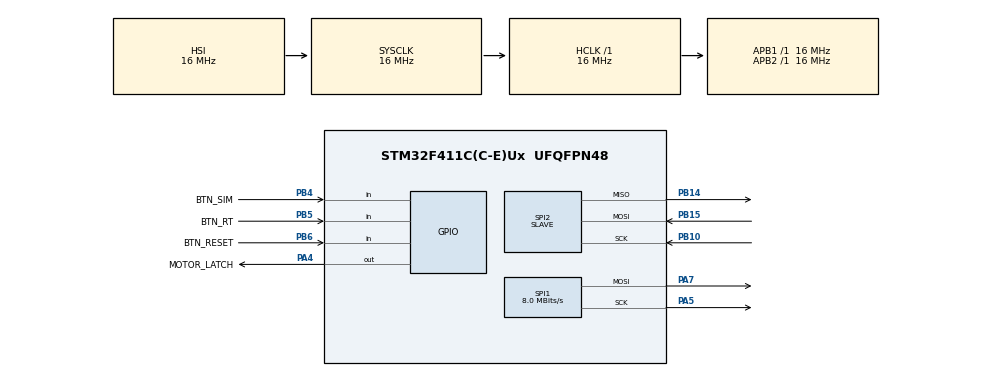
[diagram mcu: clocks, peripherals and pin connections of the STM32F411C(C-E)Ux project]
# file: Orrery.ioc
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FREERTOS.Tasks01=defaultTask,24,128,StartDefaultTask,Default,NULL,Dynamic,NULL,NULL;MotionTask,32,512,MotionTaskStart,Default,NULL,Dynamic,NULL,NULL;CommTask,24,512,CommTaskStart,Default,NULL,Dynamic,NULL,NULL
Mcu.Family=STM32F4
Mcu.Name=STM32F411C(C-E)Ux
Mcu.Package=UFQFPN48
NVIC.PriorityGroup=NVIC_PRIORITYGROUP_4
NVIC.TIM1_TRG_COM_TIM11_IRQn=true\:15\:0\:false\:false\:true\:false\:false\:true\:true
NVIC.TimeBase=TIM1_TRG_COM_TIM11_IRQn
NVIC.TimeBaseIP=TIM11
PA4.GPIO_Label=MOTOR_LATCH
PA4.Signal=GPIO_Output
PA5.Mode=TX_Only_Simplex_Unidirect_Master
PA5.Signal=SPI1_SCK
PA7.Mode=TX_Only_Simplex_Unidirect_Master
PA7.Signal=SPI1_MOSI
PB10.Mode=Full_Duplex_Slave
PB10.Signal=SPI2_SCK
PB14.Mode=Full_Duplex_Slave
PB14.Signal=SPI2_MISO
PB15.Mode=Full_Duplex_Slave
PB15.Signal=SPI2_MOSI
PB4.GPIO_Label=BTN_SIM
PB4.Signal=GPIO_Input
PB5.GPIO_Label=BTN_RT
PB5.Signal=GPIO_Input
PB6.GPIO_Label=BTN_RESET
PB6.Signal=GPIO_Input
ProjectManager.HeapSize=0x200
ProjectManager.StackSize=0x400
ProjectManager.TargetToolchain=STM32CubeIDE
RCC.AHBFreq_Value=16000000
RCC.APB1Freq_Value=16000000
RCC.APB2Freq_Value=16000000
RCC.CortexFreq_Value=16000000
RCC.HSE_VALUE=25000000
RCC.HSI_VALUE=16000000
RCC.LSE_VALUE=32768
RCC.SYSCLKFreq_VALUE=16000000
RCC.VCOOutputFreq_Value=192000000
SPI1.CalculateBaudRate=8.0 MBits/s
SPI1.Direction=SPI_DIRECTION_2LINES
SPI1.Mode=SPI_MODE_MASTER
SPI1.VirtualType=VM_MASTER
SPI2.Direction=SPI_DIRECTION_2LINES
SPI2.Mode=SPI_MODE_SLAVE
SPI2.VirtualType=VM_SLAVE
VP_FREERTOS_VS_CMSIS_V2.Mode=CMSIS_V2
VP_SYS_VS_tim11.Mode=TIM11
board=custom

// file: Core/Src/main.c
/* USER CODE BEGIN Header */
/**
  ******************************************************************************
  * @file           : main.c
  * @brief          : Main program body
  ******************************************************************************
  * @attention
  *
  * Copyright (c) 2026 STMicroelectronics.
  * All rights reserved.
  *
  * This software is licensed under terms that can be found in the LICENSE file
  * in the root directory of this software component.
  * If no LICENSE file comes with this software, it is provided AS-IS.
  *
  ******************************************************************************
  */
/* USER CODE END Header */
#include "main.h"
#include "cmsis_os.h"

/* USER CODE BEGIN Includes */
#include "stepper.h"
/* USER CODE END Includes */

SPI_HandleTypeDef hspi1;
SPI_HandleTypeDef hspi2;

/* Definitions for defaultTask */
osThreadId_t defaultTaskHandle;
const osThreadAttr_t defaultTask_attributes = {
  .name = "defaultTask",
  .stack_size = 128 * 4,
  .priority = (osPriority_t) osPriorityNormal,
};
/* Definitions for MotionTask */
osThreadId_t MotionTaskHandle;
const osThreadAttr_t MotionTask_attributes = {
  .name = "MotionTask",
  .stack_size = 512 * 4,
  .priority = (osPriority_t) osPriorityAboveNormal,
};
/* Definitions for CommTask */
osThreadId_t CommTaskHandle;
const osThreadAttr_t CommTask_attributes = {
  .name = "CommTask",
  .stack_size = 512 * 4,
  .priority = (osPriority_t) osPriorityNormal,
};
/* USER CODE BEGIN PV */
IWDG_HandleTypeDef hiwdg;
/* USER CODE END PV */

void SystemClock_Config(void);
static void MX_GPIO_Init(void);
static void MX_SPI1_Init(void);
static void MX_SPI2_Init(void);
void StartDefaultTask(void *argument);
void MotionTaskStart(void *argument);
void CommTaskStart(void *argument);

int main(void)
{

  /* MCU Configuration--------------------------------------------------------*/

  /* Reset of all peripherals, Initializes the Flash interface and the Systick. */
  HAL_Init();

  /* Configure the system clock */
  SystemClock_Config();

  /* Initialize all configured peripherals */
  MX_GPIO_Init();
  MX_SPI1_Init();
  MX_SPI2_Init();
  /* USER CODE BEGIN 2 */
  {
    /* CubeMX generated these as NOPULL; force pull-up so each button just
       needs to short its pin to GND when pressed, no external resistor. */
    GPIO_InitTypeDef btnInit = {0};
    btnInit.Mode  = GPIO_MODE_INPUT;
    btnInit.Pull  = GPIO_PULLUP;
    btnInit.Speed = GPIO_SPEED_FREQ_LOW;

    btnInit.Pin = BTN_SIM_Pin;
    HAL_GPIO_Init(BTN_SIM_GPIO_Port, &btnInit);

    btnInit.Pin = BTN_RT_Pin;
    HAL_GPIO_Init(BTN_RT_GPIO_Port, &btnInit);

    btnInit.Pin = BTN_RESET_Pin;
    HAL_GPIO_Init(BTN_RESET_GPIO_Port, &btnInit);
  }

  /* Independent watchdog: if the motion loop ever stops refreshing this
     (frozen task, whatever the cause), the chip resets itself and resumes
     on its own instead of needing a manual power cycle. LSI ~32kHz /
     prescaler 64 = 500Hz tick; reload 2000 -> ~4 second timeout, long
     enough that a normal 1ms poll loop never comes close. */
  hiwdg.Instance = IWDG;
  hiwdg.Init.Prescaler = IWDG_PRESCALER_64;
  hiwdg.Init.Reload    = 2000;
  if (HAL_IWDG_Init(&hiwdg) != HAL_OK) {
    Error_Handler();
  }
  /* USER CODE END 2 */

  /* Init scheduler */
  osKernelInitialize();

  /* Create the thread(s) */
  /* creation of defaultTask */
  defaultTaskHandle = osThreadNew(StartDefaultTask, NULL, &defaultTask_attributes);

  /* creation of MotionTask */
  MotionTaskHandle = osThreadNew(MotionTaskStart, NULL, &MotionTask_attributes);

  /* creation of CommTask */
  CommTaskHandle = osThreadNew(CommTaskStart, NULL, &CommTask_attributes);

  /* Start scheduler */
  osKernelStart();

  /* We should never get here as control is now taken by the scheduler */

  /* Infinite loop */
  while (1)
  {

  }
}

void SystemClock_Config(void)
{
  RCC_OscInitTypeDef RCC_OscInitStruct = {0};
  RCC_ClkInitTypeDef RCC_ClkInitStruct = {0};

  /** Configure the main internal regulator output voltage
  */
  __HAL_RCC_PWR_CLK_ENABLE();
  __HAL_PWR_VOLTAGESCALING_CONFIG(PWR_REGULATOR_VOLTAGE_SCALE1);

  /** Initializes the RCC Oscillators according to the specified parameters
  * in the RCC_OscInitTypeDef structure.
  */
  RCC_OscInitStruct.OscillatorType = RCC_OSCILLATORTYPE_HSI;
  RCC_OscInitStruct.HSIState = RCC_HSI_ON;
  RCC_OscInitStruct.HSICalibrationValue = RCC_HSICALIBRATION_DEFAULT;
  RCC_OscInitStruct.PLL.PLLState = RCC_PLL_NONE;
  if (HAL_RCC_OscConfig(&RCC_OscInitStruct) != HAL_OK)
  {
    Error_Handler();
  }

  /** Initializes the CPU, AHB and APB buses clocks
  */
  RCC_ClkInitStruct.ClockType = RCC_CLOCKTYPE_HCLK|RCC_CLOCKTYPE_SYSCLK
                              |RCC_CLOCKTYPE_PCLK1|RCC_CLOCKTYPE_PCLK2;
  RCC_ClkInitStruct.SYSCLKSource = RCC_SYSCLKSOURCE_HSI;
  RCC_ClkInitStruct.AHBCLKDivider = RCC_SYSCLK_DIV1;
  RCC_ClkInitStruct.APB1CLKDivider = RCC_HCLK_DIV1;
  RCC_ClkInitStruct.APB2CLKDivider = RCC_HCLK_DIV1;

  if (HAL_RCC_ClockConfig(&RCC_ClkInitStruct, FLASH_LATENCY_0) != HAL_OK)
  {
    Error_Handler();
  }
}

static void MX_SPI1_Init(void)
{

  /* SPI1 parameter configuration*/
  hspi1.Instance = SPI1;
  hspi1.Init.Mode = SPI_MODE_MASTER;
  hspi1.Init.Direction = SPI_DIRECTION_2LINES;
  hspi1.Init.DataSize = SPI_DATASIZE_8BIT;
  hspi1.Init.CLKPolarity = SPI_POLARITY_LOW;
  hspi1.Init.CLKPhase = SPI_PHASE_1EDGE;
  hspi1.Init.NSS = SPI_NSS_SOFT;
  hspi1.Init.BaudRatePrescaler = SPI_BAUDRATEPRESCALER_2;
  hspi1.Init.FirstBit = SPI_FIRSTBIT_MSB;
  hspi1.Init.TIMode = SPI_TIMODE_DISABLE;
  hspi1.Init.CRCCalculation = SPI_CRCCALCULATION_DISABLE;
  hspi1.Init.CRCPolynomial = 10;
  if (HAL_SPI_Init(&hspi1) != HAL_OK)
  {
    Error_Handler();
  }

}

static void MX_SPI2_Init(void)
{

  /* SPI2 parameter configuration*/
  hspi2.Instance = SPI2;
  hspi2.Init.Mode = SPI_MODE_SLAVE;
  hspi2.Init.Direction = SPI_DIRECTION_2LINES;
  hspi2.Init.DataSize = SPI_DATASIZE_8BIT;
  hspi2.Init.CLKPolarity = SPI_POLARITY_LOW;
  hspi2.Init.CLKPhase = SPI_PHASE_1EDGE;
  hspi2.Init.NSS = SPI_NSS_SOFT;
  hspi2.Init.FirstBit = SPI_FIRSTBIT_MSB;
  hspi2.Init.TIMode = SPI_TIMODE_DISABLE;
  hspi2.Init.CRCCalculation = SPI_CRCCALCULATION_DISABLE;
  hspi2.Init.CRCPolynomial = 10;
  if (HAL_SPI_Init(&hspi2) != HAL_OK)
  {
    Error_Handler();
  }

}

static void MX_GPIO_Init(void)
{
  GPIO_InitTypeDef GPIO_InitStruct = {0};

  /* GPIO Ports Clock Enable */
  __HAL_RCC_GPIOA_CLK_ENABLE();
  __HAL_RCC_GPIOB_CLK_ENABLE();

  /*Configure GPIO pin Output Level */
  HAL_GPIO_WritePin(MOTOR_LATCH_GPIO_Port, MOTOR_LATCH_Pin, GPIO_PIN_RESET);

  /*Configure GPIO pin : MOTOR_LATCH_Pin */
  GPIO_InitStruct.Pin = MOTOR_LATCH_Pin;
  GPIO_InitStruct.Mode = GPIO_MODE_OUTPUT_PP;
  GPIO_InitStruct.Pull = GPIO_NOPULL;
  GPIO_InitStruct.Speed = GPIO_SPEED_FREQ_LOW;
  HAL_GPIO_Init(MOTOR_LATCH_GPIO_Port, &GPIO_InitStruct);

  /*Configure GPIO pins : BTN_SIM_Pin BTN_RT_Pin BTN_RESET_Pin */
  GPIO_InitStruct.Pin = BTN_SIM_Pin|BTN_RT_Pin|BTN_RESET_Pin;
  GPIO_InitStruct.Mode = GPIO_MODE_INPUT;
  GPIO_InitStruct.Pull = GPIO_NOPULL;
  HAL_GPIO_Init(GPIOB, &GPIO_InitStruct);

}

void StartDefaultTask(void *argument)
{
  /* USER CODE BEGIN 5 */
  __HAL_RCC_GPIOC_CLK_ENABLE();
  GPIO_InitTypeDef ledInit = {0};
  ledInit.Pin = GPIO_PIN_13;
  ledInit.Mode = GPIO_MODE_OUTPUT_PP;
  ledInit.Pull = GPIO_NOPULL;
  ledInit.Speed = GPIO_SPEED_FREQ_LOW;
  HAL_GPIO_Init(GPIOC, &ledInit);

  /* Infinite loop */
  for(;;)
  {
    HAL_GPIO_TogglePin(GPIOC, GPIO_PIN_13);
    osDelay(500);
  }
  /* USER CODE END 5 */
}

void MotionTaskStart(void *argument)
{
  /* USER CODE BEGIN MotionTaskStart */
  Motor_InitAll();

  bool simPrev = true, rtPrev = true, resetPrev = true; /* idle = HIGH via pull-up */
  uint32_t simEdgeMs = 0, rtEdgeMs = 0, resetEdgeMs = 0;
  const uint32_t DEBOUNCE_MS = 30;

  /* Infinite loop */
  for(;;)
  {
    uint32_t nowMs = HAL_GetTick();

    bool simNow = (HAL_GPIO_ReadPin(BTN_SIM_GPIO_Port, BTN_SIM_Pin) == GPIO_PIN_SET);
    if (simNow != simPrev && (nowMs - simEdgeMs) > DEBOUNCE_MS) {
      simEdgeMs = nowMs;
      simPrev = simNow;
      if (!simNow) { /* active-low: falling edge = pressed */
        Motor_SetModeSim();
      }
    }

    bool rtNow = (HAL_GPIO_ReadPin(BTN_RT_GPIO_Port, BTN_RT_Pin) == GPIO_PIN_SET);
    if (rtNow != rtPrev && (nowMs - rtEdgeMs) > DEBOUNCE_MS) {
      rtEdgeMs = nowMs;
      rtPrev = rtNow;
      if (!rtNow) {
        Motor_SetModeRealtime();
      }
    }

    bool resetNow = (HAL_GPIO_ReadPin(BTN_RESET_GPIO_Port, BTN_RESET_Pin) == GPIO_PIN_SET);
    if (resetNow != resetPrev && (nowMs - resetEdgeMs) > DEBOUNCE_MS) {
      resetEdgeMs = nowMs;
      resetPrev = resetNow;
      if (!resetNow) {
        Motor_ButtonReset();
      }
    }

    Motor_Poll();

    HAL_IWDG_Refresh(&hiwdg);

    osDelay(1);
  }
  /* USER CODE END MotionTaskStart */
}

void CommTaskStart(void *argument)
{
  for(;;)
  {
    osDelay(1);
  }
}

void HAL_TIM_PeriodElapsedCallback(TIM_HandleTypeDef *htim)
{
  if (htim->Instance == TIM11)
  {
    HAL_IncTick();
  }
}

void Error_Handler(void)
{
  __disable_irq();
  while (1)
  {
  }
}
